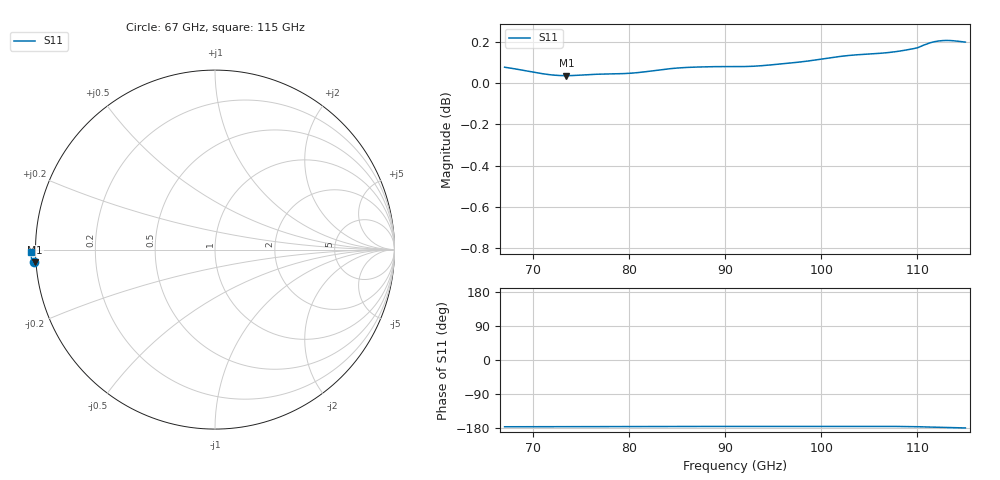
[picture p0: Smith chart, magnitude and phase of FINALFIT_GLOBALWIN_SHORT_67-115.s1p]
! Generated by Phase I extraction
# Hz S RI R 50
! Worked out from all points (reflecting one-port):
!   1001 points, 67 GHz to 115 GHz, reference 50 ohm
!   lowest |S11| = 0.0 dB at 73.43 GHz (marker M1)
!   phase of S11 starts at -176 deg and turns -3 deg over the sweep
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6.7e10  -1.007 -0.0672
6.964e10  -1.004 -0.068
7.156e10  -1.003 -0.0691
7.3e10  -1.002 -0.0703
7.3432e10  -1.002 -0.0706
7.5928e10  -1.002 -0.0732
7.9e10  -1.002 -0.0772
8.1496e10  -1.003 -0.0797
8.5e10  -1.005 -0.0813
9.1e10  -1.006 -0.0833
9.3448e10  -1.006 -0.085
9.7e10  -1.008 -0.0874
1.00648e11  -1.01 -0.0897
1.03e11  -1.012 -0.0903
1.04824e11  -1.013 -0.0897
1.06312e11  -1.013 -0.0875
1.07656e11  -1.014 -0.0835
1.08328e11  -1.015 -0.0806
1.09e11  -1.016 -0.0771
1.0972e11  -1.017 -0.0729
1.10008e11  -1.018 -0.0708
1.11208e11  -1.021 -0.0551
1.11688e11  -1.022 -0.0497
1.12216e11  -1.023 -0.0444
1.13512e11  -1.024 -0.0314
1.1404e11  -1.024 -0.0253
1.14808e11  -1.023 -0.0151
1.15e11  -1.023 -0.0125
